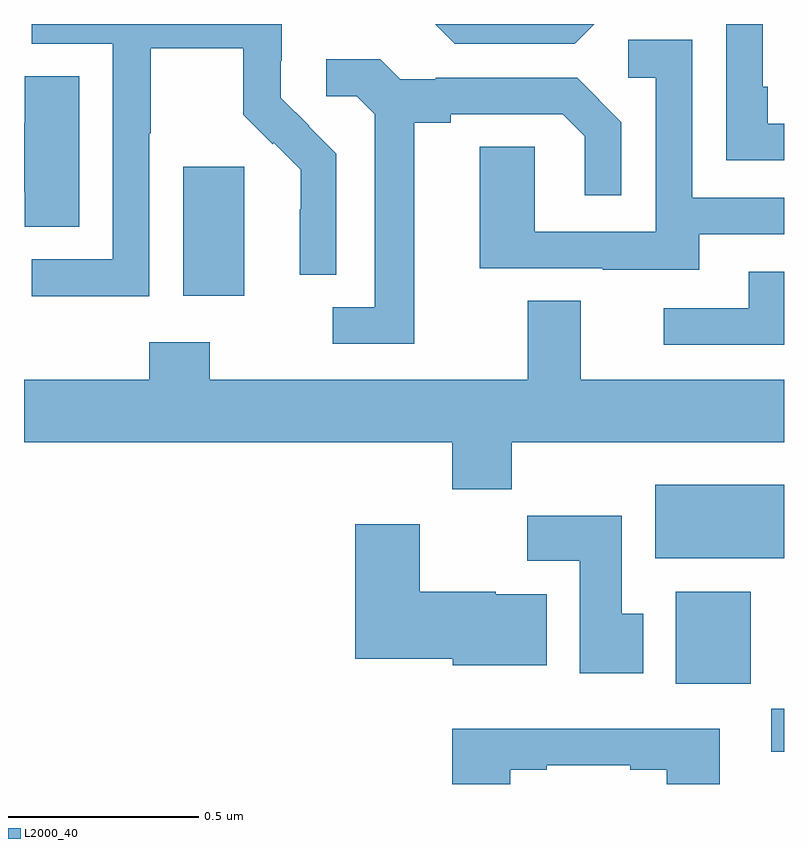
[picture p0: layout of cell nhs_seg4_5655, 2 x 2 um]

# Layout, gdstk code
import gdstk
lib = gdstk.Library(unit=1e-6, precision=1e-09)
def R(c, l, rs):  # rectangles x0, y0, x1, y1
    for r in rs: c.add(gdstk.rectangle(r[:2], r[2:], *l))
def P(c, l, *ps):  # polygons
    for p in ps: c.add(gdstk.Polygon(p, *l))
L2000_40 = (2000, 40)

nhs_seg4_5655 = lib.new_cell('nhs_seg4_5655')
R(nhs_seg4_5655, L2000_40, [(181.967,815.985,182,816.098), (181.715,816.164,181.912,816.406), (181.661,816.494,182,816.688), (180.419,817.185,180.58,817.525)])
P(nhs_seg4_5655, L2000_40, [(180.33,817.612),(180.333,817.612),(180.333,817.836),(180.577,817.836),(180.577,817.661),(180.654,817.584),(180.657,817.587),(180.728,817.517),(180.728,817.412),(180.725,817.412),(180.725,817.24),(180.822,817.24),(180.822,817.558),(180.749,817.631),(180.75,817.632),(180.676,817.706),(180.676,817.803),(180.678,817.803),(180.678,817.9),(180.021,817.9),(180.021,817.848),(180.234,817.848),(180.234,817.281),(180.021,817.281),(180.021,817.183),(180.33,817.183)],
  [(181.501,817.9),(181.082,817.9),(181.134,817.848),(181.449,817.848)],
  [(182,817.638),(181.957,817.638),(181.957,817.735),(181.944,817.735),(181.944,817.9),(181.848,817.9),(181.848,817.542),(182,817.542)],
  [(181.777,817.347),(182,817.347),(182,817.443),(181.758,817.443),(181.758,817.859),(181.59,817.859),(181.59,817.758),(181.662,817.758),(181.662,817.353),(181.344,817.353),(181.344,817.577),(181.199,817.577),(181.199,817.257),(181.523,817.257),(181.523,817.253),(181.777,817.253)],
  [(181.027,817.64),(181.123,817.64),(181.123,817.662),(181.418,817.662),(181.475,817.605),(181.475,817.449),(181.572,817.449),(181.572,817.642),(181.456,817.758),(181.084,817.758),(181.084,817.755),(180.99,817.755),(180.938,817.807),(180.795,817.807),(180.795,817.71),(180.876,817.71),(180.923,817.663),(180.923,817.155),(180.813,817.155),(180.813,817.059),(181.027,817.059)],
  [(180.145,817.763),(180.002,817.763),(180.002,817.64),(180,817.64),(180,817.457),(180.002,817.457),(180.002,817.366),(180.145,817.366)],
  [(182,817.248),(181.907,817.248),(181.907,817.152),(181.683,817.152),(181.683,817.056),(182,817.056)],
  [(181.283,816.8),(182,816.8),(182,816.964),(181.465,816.964),(181.465,817.172),(181.325,817.172),(181.325,816.964),(180.489,816.964),(180.489,817.063),(180.329,817.063),(180.329,816.964),(180,816.964),(180,816.8),(181.127,816.8),(181.127,816.676),(181.283,816.676)],
  [(181.63,816.348),(181.573,816.348),(181.573,816.606),(181.324,816.606),(181.324,816.488),(181.463,816.488),(181.463,816.192),(181.63,816.192)],
  [(181.375,816.4),(181.242,816.4),(181.242,816.406),(181.042,816.406),(181.042,816.583),(180.872,816.583),(180.872,816.23),(181.128,816.23),(181.128,816.212),(181.375,816.212)],
  [(181.279,815.937),(181.375,815.937),(181.375,815.949),(181.595,815.949),(181.595,815.937),(181.691,815.937),(181.691,815.9),(181.831,815.9),(181.831,816.046),(181.127,816.046),(181.127,815.9),(181.279,815.9)])

lib.write_gds('nhs_seg4_5655.gds')
